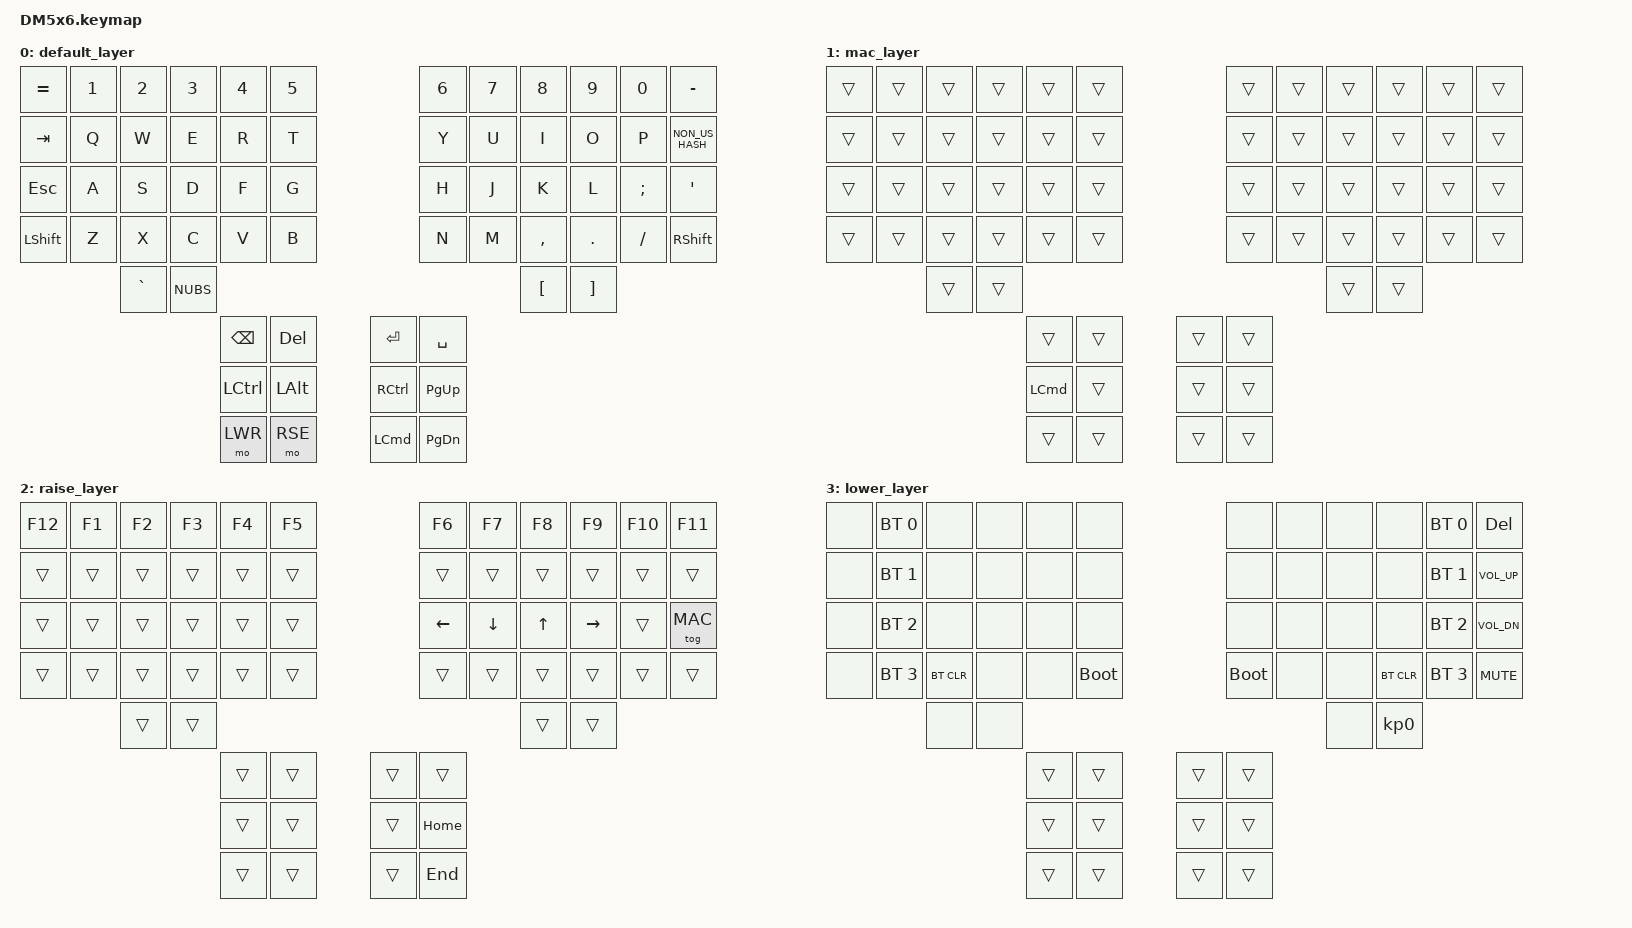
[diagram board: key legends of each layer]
#include <behaviors.dtsi>
#include <dt-bindings/zmk/keys.h>
#include <dt-bindings/zmk/bt.h>

#define DEFAULT 0
#define MAC 1
#define RSE 2
#define LWR 3


/ {
    keymap {
        compatible = "zmk,keymap";

default_layer {
            bindings = <
                &kp EQUAL   &kp N1 &kp N2    &kp N3 &kp N4 &kp N5                  &kp N6 &kp N7 &kp N8    &kp N9  &kp N0   &kp MINUS
                &kp TAB     &kp Q  &kp W     &kp E  &kp R  &kp T                   &kp Y  &kp U  &kp I     &kp O   &kp P    &kp NON_US_HASH
                &kp ESC     &kp A  &kp S     &kp D  &kp F  &kp G                   &kp H  &kp J  &kp K     &kp L   &kp SEMI &kp SQT
                &kp LSHFT   &kp Z  &kp X     &kp C  &kp V  &kp B                   &kp N  &kp M  &kp COMMA &kp DOT &kp FSLH &kp RSHFT
                                   &kp GRAVE &kp NUBS                                            &kp LBKT  &kp RBKT
                                                    &kp BSPC &kp DEL          &kp RET &kp SPACE
                                                      &kp LCTRL &kp LALT    &kp RCTRL &kp PAGE_UP
                                                      &mo LWR   &mo RSE    &kp LCMD  &kp PAGE_DOWN
                                      
            >;
        };

        mac_layer {
            bindings = <
                &trans  &trans &trans &trans &trans &trans               &trans  &trans &trans &trans &trans &trans
                &trans  &trans &trans &trans &trans &trans               &trans  &trans &trans &trans &trans &trans
                &trans  &trans &trans &trans &trans &trans               &trans  &trans &trans &trans &trans &trans
                &trans  &trans &trans &trans &trans &trans               &trans  &trans &trans &trans &trans &trans
                               &trans &trans                                            &trans &trans
                                               &trans &trans           &trans &trans
                                                 &kp LCMD &trans     &trans &trans
                                                 &trans &trans       &trans &trans
                                      
            >;
        };

        raise_layer {
            bindings = <
                &kp F12 &kp F1 &kp F2 &kp F3 &kp F4 &kp F5                &kp F6   &kp F7   &kp F8   &kp F9    &kp F10   &kp F11
                &trans  &trans &trans &trans &trans &trans                &trans   &trans   &trans   &trans    &trans    &trans
                &trans  &trans &trans &trans &trans &trans                &kp LEFT &kp DOWN &kp UP   &kp RIGHT &trans    &tog MAC
                &trans  &trans &trans &trans &trans &trans                &trans   &trans   &trans   &trans    &trans    &trans
                               &trans &trans                                                &trans &trans
                                               &trans &trans            &trans &trans
                                                 &trans &trans        &trans &kp HOME
                                                 &trans &trans        &trans &kp END
            >;
        };

        lower_layer {
            bindings = <
                &none &bt BT_SEL 0 &none        &none &none  &none               &none       &none &none &none      &bt BT_SEL 0 &kp DEL
                &none &bt BT_SEL 1 &none        &none &none  &none               &none       &none &none &none      &bt BT_SEL 1 &kp K_VOL_UP
                &none &bt BT_SEL 2 &none        &none &none  &none               &none       &none &none &none      &bt BT_SEL 2 &kp K_VOL_DN
                &none &bt BT_SEL 3 &bt BT_CLR   &none &none  &bootloader         &bootloader &none &none &bt BT_CLR &bt BT_SEL 3 &kp K_MUTE
                      &none       &none                                                           &none &kp KP_N0
                                                        &trans  &trans         &trans &trans
                                                          &trans  &trans     &trans &trans
                                                          &trans  &trans     &trans &trans
            >;
        };
    };
};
